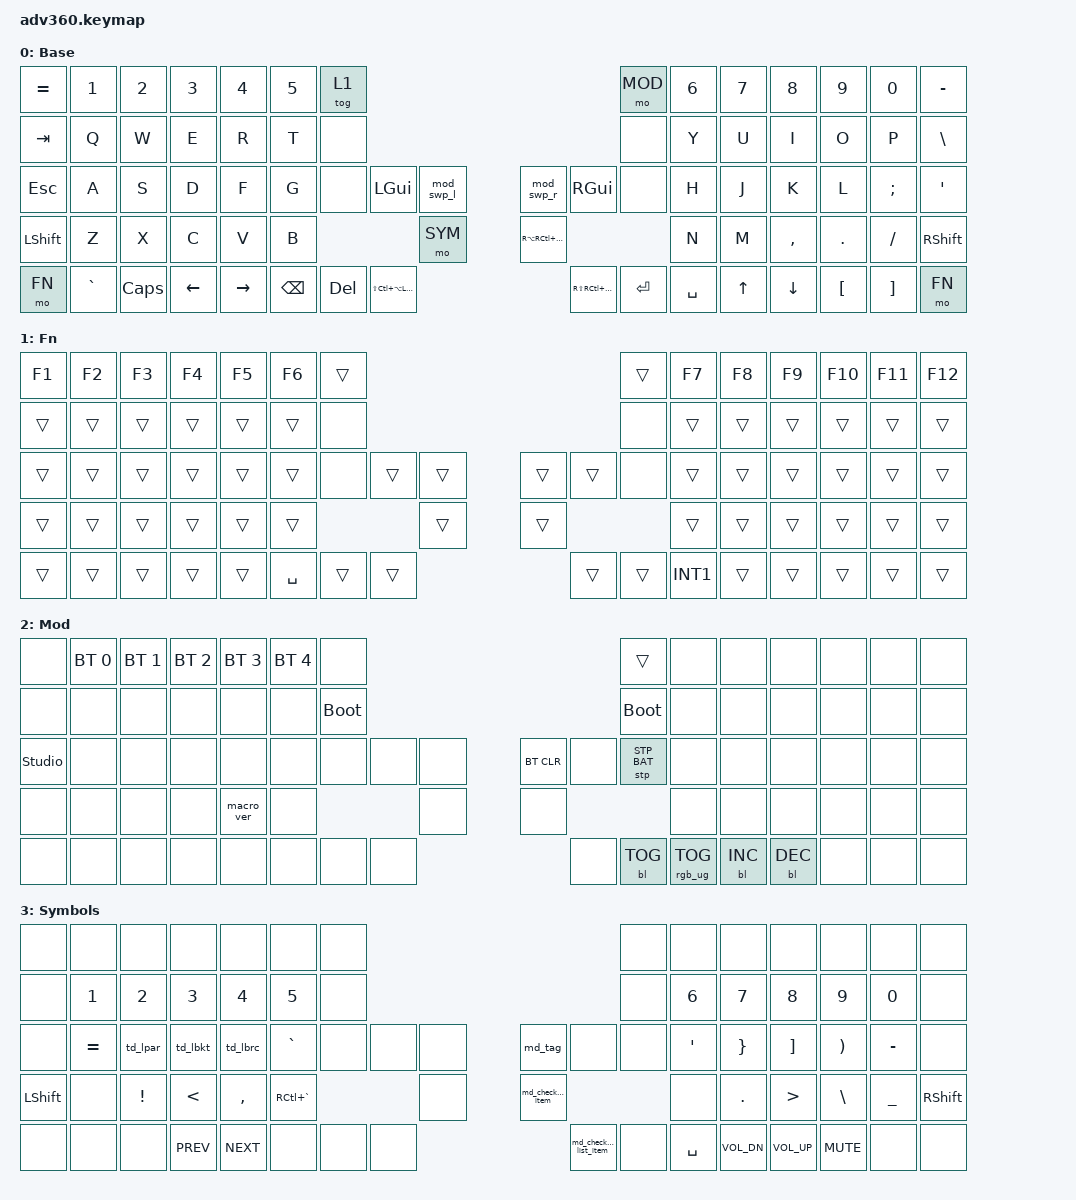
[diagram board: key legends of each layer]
#include <behaviors.dtsi>
#include <dt-bindings/zmk/keys.h>
#include <dt-bindings/zmk/bt.h>
#include <dt-bindings/zmk/rgb.h>
#include <dt-bindings/zmk/stp.h>
#include <dt-bindings/zmk/backlight.h>
#include <dt-bindings/zmk/pointing.h>

#define DEFAULT 0
#define FN      1
#define MOD     2
#define SYM     3

#define TAP_DANCE_MS  <200>

/ {
  behaviors {
    #include "macros.dtsi"
    #include "custom_behaviors.dtsi"
    #include "version.dtsi"

    hm: homerow_mods {
        compatible = "zmk,behavior-hold-tap";
        label = "HOMEROW_MODS";
        #binding-cells = <2>;
        tapping-term-ms = <200>;
        quick_tap_ms = <175>;
        flavor = "tap-preferred";
        bindings = <&kp>, <&kp>;
    };
  };

  keymap {
    compatible = "zmk,keymap";

    // 0
    default_layer {
      display-name = "Base";
      // |  0  |  1  |  2  |  3  |  4  |  5  |  6  |  7  |  8  |  9  |  A  |  B  |  C  |  D  |  E  |  F  |  G  |  H  |
      // -------------------------------------------------------------------------------------------------------------
      // |  =  |  1  |  2  |  3  |  4  |  5  | To1 | --------------------- | MOD |  6  |  7  |  8  |  9  |  0  |  -  | 14
      // | TAB |  Q  |  W  |  E  |  R  |  T  |     | --------------------- |     |  Y  |  U  |  I  |  O  |  P  |  \  | 14
      // | ESC |  A  |  S  |  D  |  F  |  G  |     | LGui| LALT|RCTRL|RGui |     |  H  |  J  |  K  |  L  |  ;  |  '  | 18
      // |LShft|  Z  |  X  |  C  |  V  |  B  | --------- | SYM |ACGui| --------- |  N  |  M  |  ,  |  .  |  /  |RShft| 14
      // | FN  |  `  | Cap | Left|Right| --- | BSPC| DEL |Hyper|SCGui|Enter|Space| --- |  Up |Down |  [  |  ]  |FLIP | 16
      // -------------------------------------------------------------------------------------------------------------
      // |  0  |  1  |  2  |  3  |  4  |  5  |  6  |  7  |  8  |  9  |  A  |  B  |  C  |  D  |  E  |  F  |  G  |  H  |
      bindings = <
        &kp EQUAL &kp N1    &kp N2   &kp N3   &kp N4     &kp N5 &tog 1                                                                                    &mo MOD &kp N6 &kp N7   &kp N8    &kp N9   &kp N0   &kp MINUS
        &kp TAB   &kp Q     &kp W    &kp E    &kp R      &kp T  &none                                                                                     &none   &kp Y  &kp U    &kp I     &kp O    &kp P    &kp BSLH
        &kp ESC   &kp A     &kp S    &kp D    &kp F      &kp G  &none             &kp LGUI  &mod_swp_l            &mod_swp_r          &kp RGUI            &none   &kp H  &kp J    &kp K     &kp L    &kp SEMI &kp SQT
        &kp LSHFT &kp Z     &kp X    &kp C    &kp V      &kp B                              &mo SYM               &kp RA(RC(RGUI))                                &kp N  &kp M    &kp COMMA &kp DOT  &kp FSLH &kp RSHFT
        &mo FN    &kp GRAVE &kp CAPS &kp LEFT &kp RIGHT                 &kp BSPC  &kp DEL   &kp LS(LC(LA(LGUI)))  &kp RS(RC(RGUI))    &kp ENTER &kp SPACE                &kp UP   &kp DOWN  &kp LBKT &kp RBKT &mo FN
      >;
    };

    // 1 - White
    fn {
      display-name = "Fn";
      bindings = <
        &kp F1 &kp F2 &kp F3 &kp F4 &kp F5 &kp F6 &trans                                             &trans  &kp F7 &kp F8 &kp F9 &kp F10 &kp F11 &kp F12
        &trans &trans &trans &trans &trans &trans &none                                              &none   &trans &trans &trans &trans  &trans  &trans
        &trans &trans &trans &trans &trans &trans &none             &trans &trans &trans &trans      &none   &trans &trans &trans &trans  &trans  &trans
        &trans &trans &trans &trans &trans &trans                          &trans &trans                     &trans &trans &trans &trans  &trans  &trans
        &trans &trans &trans &trans &trans                &kp SPACE &trans &trans &trans &trans &kp INT1              &trans &trans &trans  &trans  &trans
      >;
    };

    // 2 - Blue
    mod {
      display-name = "Mod";
      bindings = <
        &none &bt BT_SEL 0 &bt BT_SEL 1 &bt BT_SEL 2 &bt BT_SEL 3 &bt BT_SEL 4 &none                                                                     &trans                 &none        &none        &none        &none &none &none
        &none &none        &none        &none        &none        &none        &bootloader                                                               &bootloader            &none        &none        &none        &none &none &none
        &studio_unlock &none        &none        &none        &none        &none        &none                   &none &none &bt BT_CLR &none                      &stp STP_BAT &none        &none        &none        &none &none &none
        &none &none        &none        &none        &macro_ver   &none                                      &none &none                                                        &none        &none        &none        &none &none &none
        &none &none        &none        &none        &none                                       &none &none &none &none      &bl BL_TOG &rgb_ug RGB_TOG                                     &bl BL_INC   &bl BL_DEC   &none &none &none
      >;
    };

    // 3 - Green
    sym {
      display-name = "Symbols";
      // |  0  |  1  |  2  |  3  |  4  |  5  |  6  |  7  |  8  |  9  |  A  |  B  |  C  |  D  |  E  |  F  |  G  |  H  |
      // -------------------------------------------------------------------------------------------------------------
      // |     |     |     |     |     |     |     | --------------------- |     |     |     |     |     |     |     | 14
      // |     |  1  |  2  |  3  |  4  |  5  |     | --------------------- |     |  6  |  7  |  8  |  9  |  0  |     | 14
      // |     |  =  |  (  |  [  |  {  |  `  |     |     |     |- [|]|     |     |  '  |  }  |  ]  |  )  |  -  |     | 18
      // |LShft|     |  !  |  <  |  ,  |RC(`)| --------- |     |- [ ]| --------- |     |  .  |  >  |  \  |  _  |RShft| 14
      // |     |     |     | Prev|Next | --- |     |     |     |- [x]|     |Space| --- |Vol.-|Vol.+|Mute |     |     | 16
      // -------------------------------------------------------------------------------------------------------------
      // |  0  |  1  |  2  |  3  |  4  |  5  |  6  |  7  |  8  |  9  |  A  |  B  |  C  |  D  |  E  |  F  |  G  |  H  |
      bindings = <
        &none     &none     &none      &none       &none       &none      &none                                                         &none &none   &none         &none         &none      &none     &none
        &none     &kp N1    &kp N2     &kp N3      &kp N4      &kp N5     &none                                                         &none &kp N6  &kp N7        &kp N8        &kp N9     &kp N0    &none
        &none     &kp EQUAL &td_lpar   &td_lbkt    &td_lbrc    &kp GRAVE  &none       &none &none &md_tag               &none           &none &kp SQT &kp RBRC      &kp RBKT      &kp RPAR   &kp MINUS &none
        &kp LSHFT &none     &kp EXCL   &kp LT      &kp COMMA   &kp RC(GRAVE)                &none &md_checklist_item                          &none   &kp DOT       &kp GT        &kp BSLH   &kp UNDER &kp RSHFT
        &none     &none     &none      &kp C_PREV  &kp C_NEXT                   &none &none &none &md_checked_list_item &none &kp SPACE               &kp C_VOL_DN  &kp C_VOL_UP  &kp C_MUTE &none     &none
      >;
    };

    // 4 - Red
    extra1 {
      display-name = "Red";
      status = "reserved";
    };

    // 5 - Purple
    extra2 {
      display-name = "Purple";
      status = "reserved";
    };

    // 6 - Cyan
    extra3 {
      display-name = "Cyan";
      status = "reserved";
    };

    // 7 - Yellow
    extra4 {
      display-name = "Yellow";
      status = "reserved";
    };
  };
};
